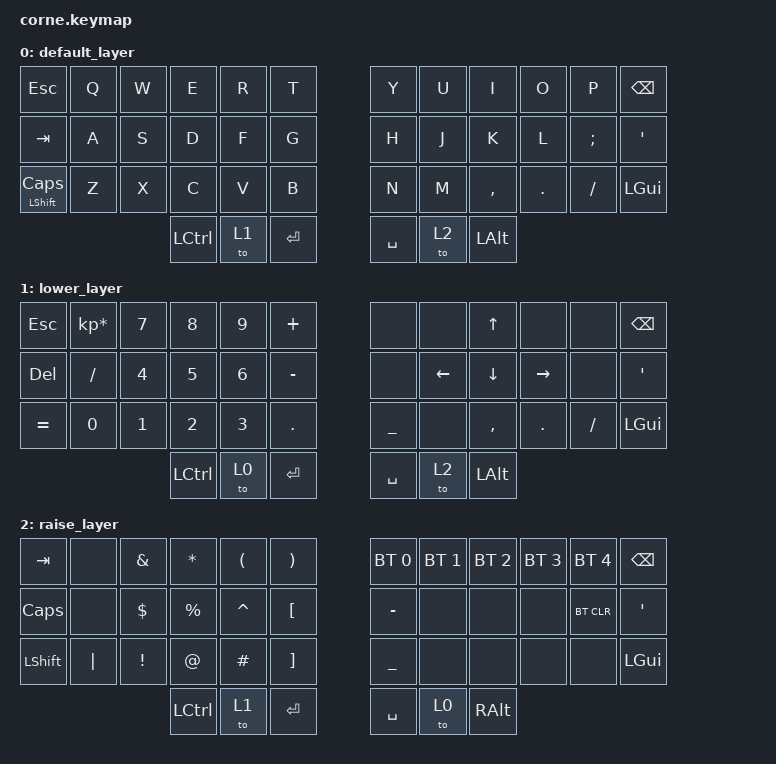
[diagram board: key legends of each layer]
/*
 * Copyright (c) 2020 The ZMK Contributors
 *
 * SPDX-License-Identifier: MIT
 */

#include <behaviors.dtsi>
#include <dt-bindings/zmk/keys.h>
#include <dt-bindings/zmk/bt.h>
#include <dt-bindings/zmk/ext_power.h>


/ {     
        keymap {
                compatible = "zmk,keymap";

                default_layer {
// -----------------------------------------------------------------------------------------
// | ESC |  Q  |  W  |  E  |  R  |  T  |   |  Y  |  U   |  I  |  O  |  P  | BSPC |
// | TAB |  A  |  S  |  D  |  F  |  G  |   |  H  |  J   |  K  |  L  |  ;  |  '   |
// | SHFT|  Z  |  X  |  C  |  V  |  B  |   |  N  |  M   |  ,  |  .  |  /  | GUI  |
//                 | CTRL | LYR1 | ENT |   | SPC | LYR2  | L-ALT |
                        bindings = <
   &kp ESC        &kp Q   &kp W   &kp E     &kp R  &kp T     &kp Y     &kp U  &kp I       &kp O     &kp P       &kp BSPC
   &kp TAB        &kp A   &kp S   &kp D     &kp F  &kp G     &kp H     &kp J  &kp K       &kp L     &kp SEMI    &kp SQT
   &mt LSHFT CAPS &kp Z   &kp X   &kp C     &kp V  &kp B     &kp N     &kp M  &kp COMMA   &kp DOT   &kp FSLH    &kp LGUI
                                  &kp LCTRL &to 1  &kp RET   &kp SPACE &to 2 &kp LALT
                        >;
                };
                lower_layer {
// -----------------------------------------------------------------------------------------
// |  ESC |  *  |  7  |  8  |  9  |  +  |   |     |     |  UP |     |     | BSPC |
// | DEL  |  /  |  4  |  5  |  6  |  -  |   |     | LFT |DOWN | RGT |     |   '  |
// |   =  |  0  |  1  |  2  |  3  |  .  |   |  _  |     |  ,  |  .  |  /  |  GUI |
//                   | CTRL| LYR0 | ENT |   | SPC | LYR2 | L-ALT |
                        bindings = <
   &kp ESC         &kp KP_MULTIPLY  &kp N7   &kp N8     &kp N9    &kp PLUS       &none       &none      &kp UP      &none         &none      &kp BSPC
   &kp DEL         &kp FSLH         &kp N4   &kp N5     &kp N6    &kp MINUS      &none       &kp LEFT   &kp DOWN    &kp RIGHT     &none      &kp SQT
   &kp EQUAL       &kp N0           &kp N1   &kp N2     &kp N3    &kp DOT        &kp UNDER   &none      &kp COMMA   &kp DOT       &kp FSLH   &kp LGUI
                          	                 &kp LCTRL  &to 0     &kp RET        &kp SPACE   &to 2      &kp LALT
                        >;
                };

                raise_layer {
// -----------------------------------------------------------------------------------------
// |  ESC |     |  &  |  *  |  (  |  )  |   | BT1 | BT2 | BT3 | BT4 | BT5 | BSPC |
// | TAB  |     |  $  |  %  |  ^  |  [  |   |  -  |     |     |     | BTC |  '   |
// | SHFT | "|" |  !  |  @  |  #  |  ]  |   |  _  |     |     |     |     |  GUI |
//                   | CTRL| LYR1 | ENT |   | SPC |  LYR0 | R-ALT |
                        bindings = <
   &kp TAB    &none     &kp AMPS   &kp STAR    &kp LPAR   &kp RPAR   &bt BT_SEL 0  &bt BT_SEL 1  &bt BT_SEL 2   &bt BT_SEL 3   &bt BT_SEL 4    &kp BSPC
   &kp CAPS   &none     &kp DOLLAR &kp PRCNT   &kp CARET  &kp LBKT   &kp MINUS     &none         &none          &none          &bt BT_CLR      &kp SQT
   &kp LSHFT  &kp PIPE  &kp EXCL   &kp AT      &kp HASH   &kp RBKT   &kp UNDER     &none         &none          &none          &none           &kp LGUI
                    	             &kp LCTRL   &to 1      &kp RET    &kp SPACE     &to 0         &kp RALT
                        >;
                };
        };
};
